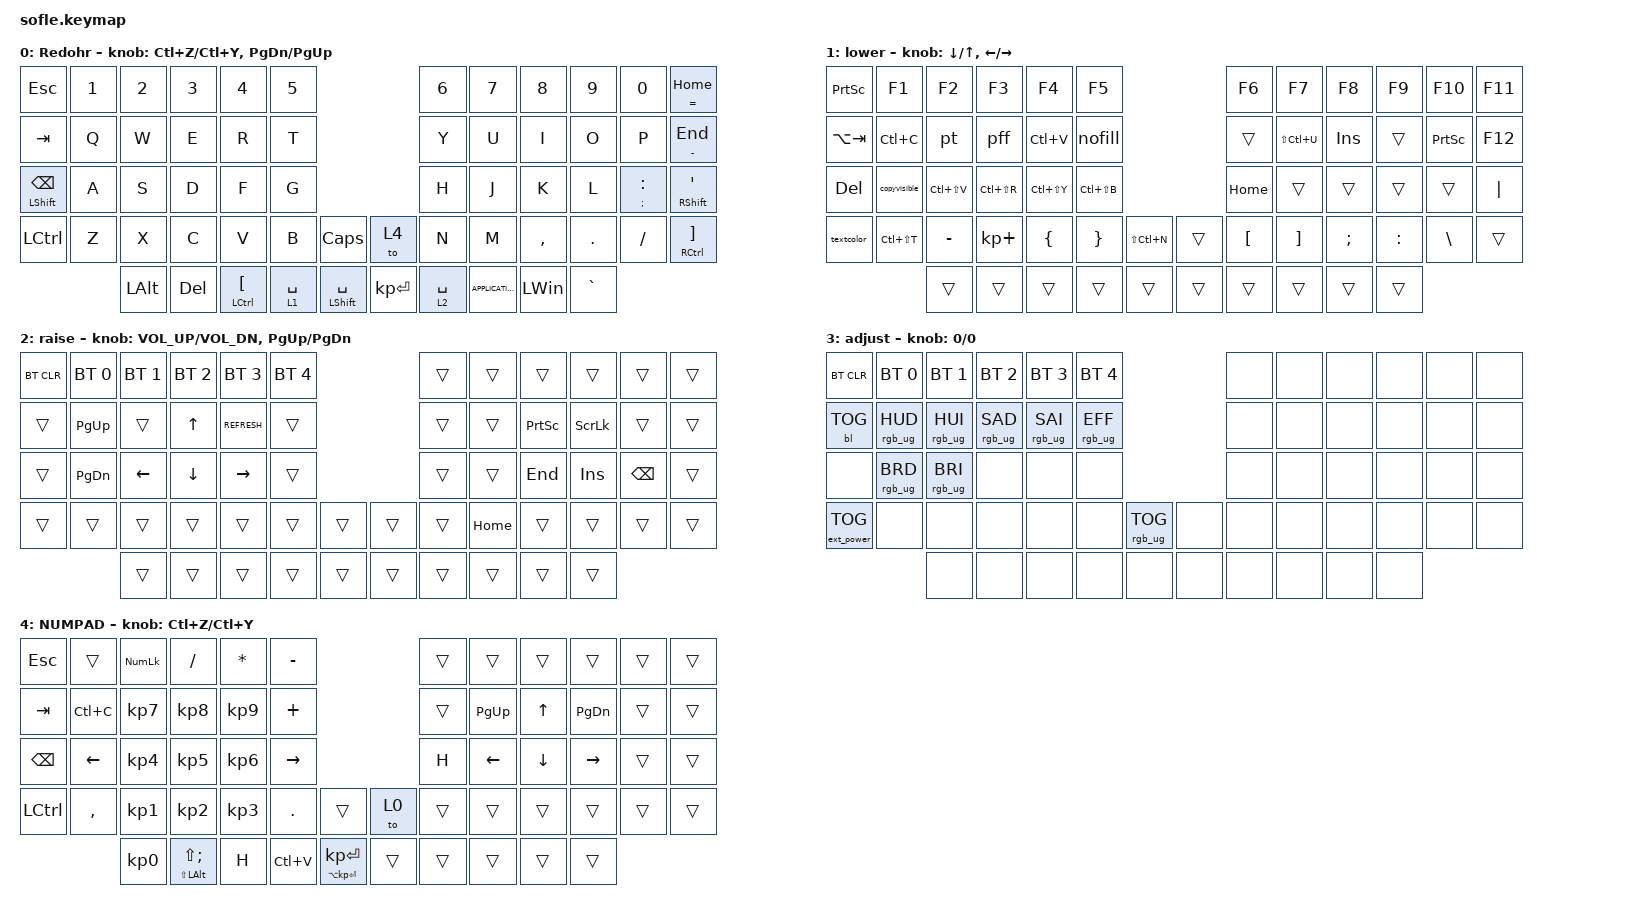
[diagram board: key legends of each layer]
/*
 * Copyright (c) 2020 The ZMK Contributors
 *
 * SPDX-License-Identifier: MIT
 */

#include <behaviors.dtsi>
#include <dt-bindings/zmk/backlight.h>
#include <dt-bindings/zmk/bt.h>
#include <dt-bindings/zmk/ext_power.h>
#include <dt-bindings/zmk/keys.h>
#include <dt-bindings/zmk/rgb.h>

#define BASE 0
#define LOWER 1
#define RAISE 2
#define ADJUST 3

/ {
    // Activate ADJUST layer by pressing raise and lower

    conditional_layers {
        compatible = "zmk,conditional-layers";

        adjust_layer {
            if-layers = <1 2>;
            then-layer = <3>;
        };
    };

    macros {
        pt: pastext {
            compatible = "zmk,behavior-macro";
            #binding-cells = <0>;
            bindings =
                <&macro_tap>,
                <&kt LEFT_ALT &kp E &kp S &kp V &kt LEFT_ALT &kp ENTER>;

            label = "PASTEXT";
        };

        pf: pf {
            compatible = "zmk,behavior-macro";
            #binding-cells = <0>;
            bindings =
                <&macro_tap>,
                <&kt LEFT_ALT &kp H &kp V &kp R &kt LEFT_ALT &kp ENTER>;

            label = "PF";
        };

        nofill: nofill {
            compatible = "zmk,behavior-macro";
            #binding-cells = <0>;
            bindings =
                <&macro_tap>,
                <&kt LEFT_ALT &kp H &kp H &kp N &kt LEFT_ALT &kp ENTER>;

            label = "NOFILL";
        };

        textcolor: textcolor {
            compatible = "zmk,behavior-macro";
            #binding-cells = <0>;
            bindings =
                <&macro_tap>,
                <&kt LEFT_ALT &kp H &kp H &kp R &kt LEFT_ALT &kp ESC &kp KP_ENTER>;

            label = "TEXTCOLOR";
        };

        pff: pff {
            compatible = "zmk,behavior-macro";
            #binding-cells = <0>;
            bindings =
                <&macro_tap>,
                <&kt LEFT_ALT &kp E &kp S &kp T &kt LEFT_ALT &kp ENTER>;

            label = "PFF";
        };

        copyvisible: copyvisible {
            compatible = "zmk,behavior-macro";
            #binding-cells = <0>;
            label = "COPY_VISIBLE";
            wait-ms = <30>;   // Thời gian chờ tiêu chuẩn giữa các phím (nhanh)
            tap-ms = <30>;    // Thời gian giữ phím (đủ để máy nhận)
            bindings = <&kp LA(SEMI)>, <&macro_wait_time 200>, <&kp LC(C)>;

            // 3. Gửi lệnh Copy
        };
    };

    keymap {
        compatible = "zmk,keymap";

        default_layer {
            label = "Redohr";

            // ------------------------------------------------------------------------------------------------------------
            // |   `   |  1  |  2  |  3   |  4   |  5   |                   |  6   |  7    |  8    |  9   |   0   |       |
            // |  ESC  |  Q  |  W  |  E   |  R   |  T   |                   |  Y   |  U    |  I    |  O   |   P   | BKSPC |
            // |  TAB  |  A  |  S  |  D   |  F   |  G   |                   |  H   |  J    |  K    |  L   |   ;   |   '   |
            // | SHIFT |  Z  |  X  |  C   |  V   |  B   |  MUTE  |  |       |  N   |  M    |  ,    |  .   |   /   | SHIFT |
            //               | GUI | ALT  | CTRL | LOWER|  ENTER |  | SPACE | RAISE| CTRL  | ALT   | GUI  |

            bindings = <
&kp ESCAPE                &kp N1  &kp N2        &kp N3   &kp N4                  &kp N5                                             &kp N6       &kp N7             &kp N8        &kp N9      &kp N0               &mt EQUAL HOME
&kp TAB                   &kp Q   &kp W         &kp E    &kp R                   &kp T                                              &kp Y        &kp U              &kp I         &kp O       &kp P                &mt MINUS END
&mt LEFT_SHIFT BACKSPACE  &kp A   &kp S         &kp D    &kp F                   &kp G                                              &kp H        &kp J              &kp K         &kp L       &mt SEMICOLON COLON  &mt RIGHT_SHIFT SQT
&kp LCTRL                 &kp Z   &kp X         &kp C    &kp V                   &kp B        &kp CLCK                &to 4         &kp N        &kp M              &kp COMMA     &kp PERIOD  &kp FSLH             &mt RCTRL RIGHT_BRACKET
                                  &kp LEFT_ALT  &kp DEL  &mt LCTRL LEFT_BRACKET  &lt 1 SPACE  &mt LEFT_SHIFT SPACE    &kp KP_ENTER  &lt 2 SPACE  &kp K_APPLICATION  &kp LEFT_WIN  &kp GRAVE
            >;

            sensor-bindings =
                <&inc_dec_kp LC(Z) LC(Y)>,
                <&inc_dec_kp PAGE_DOWN PAGE_UP>;
        };

        lower_layer {
            label = "lower";

            // TODO: Some binds are waiting for shifted keycode support.
            // ------------------------------------------------------------------------------------------------------------
            // |       |  F1 |  F2 |  F3  |  F4  |  F5  |                   |  F6  |  F7   |  F8   |  F9  |  F10  |  F11  |
            // |   `   |  1  |  2  |  3   |  4   |  5   |                   |  6   |  7    |  8    |  9   |   0   |  F12  |
            // |       |  !  |  @  |  #   |  $   |  %   |                   |  ^   |  &    |  *    |  (   |   )   |   |   |
            // |       |  =  |  -  |  +   |  {   |  }   |        |  |       |  [   |  ]    |  ;    |  :   |   \   |       |
            //               |     |      |      |      |        |  |       |      |       |       |      |

            bindings = <
&kp PRINTSCREEN  &kp F1         &kp F2         &kp F3         &kp F4         &kp F5                                  &kp F6    &kp F7         &kp F8    &kp F9     &kp F10          &kp F11
&kp LA(TAB)      &kp LC(C)      &pt            &pff           &kp LC(V)      &nofill                                 &trans    &kp LS(LC(U))  &kp INS   &trans     &kp PRINTSCREEN  &kp F12
&kp DEL          &copyvisible   &kp LC(LS(V))  &kp LC(LS(R))  &kp LC(LS(Y))  &kp LC(LS(B))                           &kp HOME  &trans         &trans    &trans     &trans           &kp PIPE
&textcolor       &kp LC(LS(T))  &kp MINUS      &kp KP_PLUS    &kp LBRC       &kp RBRC       &kp LS(LC(N))    &trans  &kp LBKT  &kp RBKT       &kp SEMI  &kp COLON  &kp BSLH         &trans
                                &trans         &trans         &trans         &trans         &trans           &trans  &trans    &trans         &trans    &trans
            >;

            sensor-bindings =
                <&inc_dec_kp DOWN_ARROW UP_ARROW>,
                <&inc_dec_kp LEFT_ARROW RIGHT_ARROW>;
        };

        raise_layer {
            label = "raise";

            // ------------------------------------------------------------------------------------------------------------
            // | BTCLR | BT1  | BT2  |  BT3  |  BT4  |  BT5 |                |      |      |       |      |       |       |
            // |       | INS  | PSCR | GUI   |       |      |                | PGUP |      |   ^   |      |       |       |
            // |       | ALT  | CTRL | SHIFT |       | CAPS |                | PGDN |   <- |   v   |  ->  |  DEL  | BKSPC |
            // |       | UNDO | CUT  | COPY  | PASTE |      |      |  |      |      |      |       |      |       |       |
            //                |      |       |       |      |      |  |      |      |      |       |      |

            bindings = <
&bt BT_CLR  &bt BT_SEL 0   &bt BT_SEL 1    &bt BT_SEL 2    &bt BT_SEL 3   &bt BT_SEL 4                    &trans  &trans    &trans     &trans          &trans         &trans
&trans      &kp PAGE_UP    &trans          &kp UP_ARROW    &kp K_REFRESH  &trans                          &trans  &trans    &kp PSCRN  &kp SCROLLLOCK  &trans         &trans
&trans      &kp PAGE_DOWN  &kp LEFT_ARROW  &kp DOWN_ARROW  &kp RIGHT      &trans                          &trans  &trans    &kp END    &kp INSERT      &kp BACKSPACE  &trans
&trans      &trans         &trans          &trans          &trans         &trans        &trans    &trans  &trans  &kp HOME  &trans     &trans          &trans         &trans
                           &trans          &trans          &trans         &trans        &trans    &trans  &trans  &trans    &trans     &trans
            >;

            sensor-bindings = <&inc_dec_kp C_VOL_UP C_VOL_DN &inc_dec_kp PG_UP PG_DN>;
        };

        adjust_layer {
            // ----------------------------------------------------------------------------------------------------------------------------
            // | BTCLR  |  BT1    |  BT2    |   BT3   |   BT4   |   BT5   |                  |      |      |       |      |       |       |
            // | EXTPWR | RGB_HUD | RGB_HUI | RGB_SAD | RGB_SAI | RGB_EFF |                  |      |      |       |      |       |       |
            // |        | RGB_BRD | RGB_BRI |         |         |         |                  |      |      |       |      |       |       |
            // |        |         |         |         |         |         | RGB_TOG | |      |      |      |       |      |       |       |
            //                    |         |         |         |         |         | |      |      |      |       |      |

            label = "adjust";
            bindings = <
&bt BT_CLR         &bt BT_SEL 0     &bt BT_SEL 1     &bt BT_SEL 2     &bt BT_SEL 3     &bt BT_SEL 4                               &none  &none  &none  &none  &none  &none
&bl BL_TOG         &rgb_ug RGB_HUD  &rgb_ug RGB_HUI  &rgb_ug RGB_SAD  &rgb_ug RGB_SAI  &rgb_ug RGB_EFF                            &none  &none  &none  &none  &none  &none
&none              &rgb_ug RGB_BRD  &rgb_ug RGB_BRI  &none            &none            &none                                      &none  &none  &none  &none  &none  &none
&ext_power EP_TOG  &none            &none            &none            &none            &none            &rgb_ug RGB_TOG    &none  &none  &none  &none  &none  &none  &none
                                    &none            &none            &none            &none            &none              &none  &none  &none  &none  &none
            >;

            sensor-bindings = <&inc_dec_kp 0 0>;
        };

        numpad {
            label = "NUMPAD";
            bindings = <
&kp ESCAPE     &trans          &kp KP_NUMLOCK   &kp SLASH                       &kp ASTERISK     &kp MINUS                                             &trans  &trans          &trans          &trans           &trans  &trans
&kp TAB        &kp LC(C)       &kp KP_NUMBER_7  &kp KP_NUMBER_8                 &kp KP_NUMBER_9  &kp PLUS                                              &trans  &kp PAGE_UP     &kp UP_ARROW    &kp PAGE_DOWN    &trans  &trans
&kp BACKSPACE  &kp LEFT_ARROW  &kp KP_NUMBER_4  &kp KP_NUMBER_5                 &kp KP_NUMBER_6  &kp RIGHT_ARROW                                       &kp H   &kp LEFT_ARROW  &kp DOWN_ARROW  &kp RIGHT_ARROW  &trans  &trans
&kp LCTRL      &kp COMMA       &kp KP_NUMBER_1  &kp KP_NUMBER_2                 &kp KP_NUMBER_3  &kp PERIOD       &trans                       &to 0   &trans  &trans          &trans          &trans           &trans  &trans
                               &kp KP_NUMBER_0  &mt LS(LEFT_ALT) LS(SEMICOLON)  &kp H            &kp LC(V)        &mt LA(KP_ENTER) KP_ENTER    &trans  &trans  &trans          &trans          &trans
            >;

            sensor-bindings = <&inc_dec_kp LC(Z) LC(Y)>;
        };
    };
};
